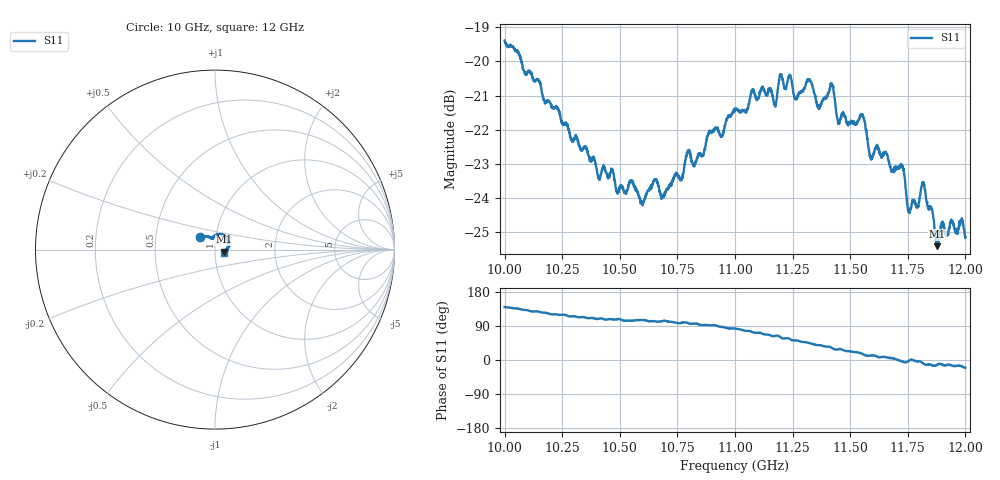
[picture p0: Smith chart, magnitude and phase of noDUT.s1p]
[Version] 2.0
! Rohde & Schwarz Vector Network Analyzer
! Rohde-Schwarz,ZNL20-2Port,1323001220200009,1.71.1.10-23.02.1.238
! Port Assignments:
! Nominal Port -> Actual Test Port
!  1 -> 1
! Created: GMT 2024-09-04 12:13:17
# Hz S DB R 50
[Number of Ports] 1
! freq[Hz]  S11[mag dB]  S11[ang]
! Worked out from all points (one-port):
!   2001 points, 10 GHz to 12 GHz, reference 50 ohm
!   lowest |S11| = -25.4 dB at 11.88 GHz (marker M1), VSWR 1.11, Z = 55.5 - j1.22 ohm
!   |S11| at or under -10 dB: start of sweep to end of sweep
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[Number of Frequencies] 28
[Network Data]
1e10  -19.38 140.0
1.025e10  -21.80 119.5
1.05e10  -23.74 107.5
1.0551e10  -23.50 103.7
1.0599e10  -24.22 105.8
1.0651e10  -23.47 102.2
1.0686e10  -23.98 102.9
1.075e10  -23.29 97.5
1.1e10  -21.44 83.1
1.112e10  -20.74 69.1
1.1174e10  -21.25 63.3
1.1199e10  -20.40 59.6
1.125e10  -20.75 52.1
1.1266e10  -21.10 51.6
1.1323e10  -20.53 44.6
1.1365e10  -21.34 39.1
1.142e10  -20.65 32.3
1.1448e10  -21.83 28.3
1.15e10  -21.80 22.8
1.1551e10  -21.58 16.6
1.159e10  -22.87 12.0
1.1723e10  -23.04 -3.3
1.175e10  -24.31 -4.0
1.1792e10  -24.27 -3.5
1.1817e10  -23.53 -9.3
1.1878e10  -25.41 -11.8
1.194e10  -24.67 -14.1
1.2e10  -25.16 -20.6
[End]
